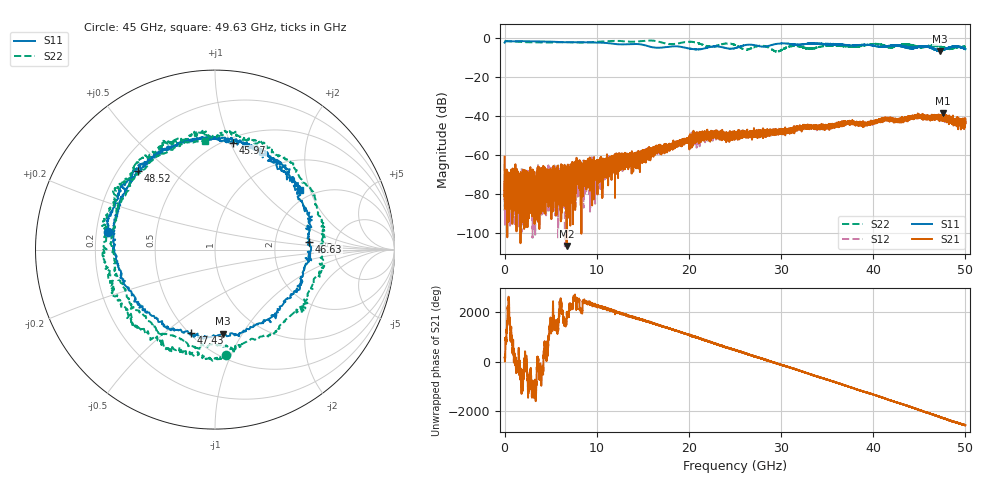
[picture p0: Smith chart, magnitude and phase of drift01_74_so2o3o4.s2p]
!Created with skrf (http://scikit-rf.org).
# Hz S RI R 50.0
!freq ReS11 ImS11 ReS21 ImS21 ReS12 ImS12 ReS22 ImS22
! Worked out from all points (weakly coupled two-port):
!   10001 points, 300 kHz to 50 GHz, reference 50 ohm
!   highest |S21| = -38.39 dB at 47.57 GHz (marker M1); lowest = -106.9 dB at 6.73 GHz (marker M2)
!   lowest |S11| = -6.5 dB at 47.27 GHz (marker M3), VSWR 2.78, Z = 34.4 - j41.4 ohm
!   |S11| at or under -10 dB: nowhere
!   |S22| runs from -6.8 to -1.0 dB; largest |S21 - S12| = 0.004
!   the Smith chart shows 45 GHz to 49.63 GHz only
!   S11 on the Smith chart (normalised r, x): 45 GHz: 0.25, +0.08; 45.97 GHz: 0.55, +1.02; 46.63 GHz: 3.16, +0.39; 47.43 GHz: 0.51, -0.62; 48.52 GHz: 0.28, +0.39; 49.63 GHz: 1.73, +1.72
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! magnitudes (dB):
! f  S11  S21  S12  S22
! 300 kHz  -2.1  -60.9  -64.5  -1.3
! 255.3 MHz  -1.4  -70.2  -73.0  -1.4
! 6.73 GHz  -1.9  -106.9  -72.1  -1.9
! 8.335 GHz  -1.9  -67.6  -70.7  -2.1
! 16.67 GHz  -4.8  -58.0  -58.1  -1.6
! 21.94 GHz  -4.8  -49.1  -50.6  -3.9
! 25 GHz  -5.0  -51.8  -48.9  -3.4
! 26.19 GHz  -3.4  -49.7  -47.9  -5.7
! 28.07 GHz  -4.2  -50.5  -49.1  -3.9
! 29.55 GHz  -2.8  -48.6  -48.1  -6.7
! 31.29 GHz  -3.0  -47.7  -47.1  -3.9
! 33.34 GHz  -2.6  -45.3  -45.3  -5.2
! 41.67 GHz  -3.8  -41.2  -41.3  -4.3
! 45 GHz  -4.4  -39.2  -39.9  -4.5
! 45.97 GHz  -4.4  -40.9  -40.5  -4.2
! 46.63 GHz  -5.6  -40.5  -40.5  -3.8
! 47.27 GHz  -6.5  -39.8  -40.8  -4.2
! 47.43 GHz  -6.3  -40.0  -39.9  -4.4
! 47.57 GHz  -5.8  -38.4  -41.0  -4.5
! 48.52 GHz  -4.3  -42.6  -42.6  -5.1
! 49.63 GHz  -4.7  -44.3  -43.8  -4.3
! 50 GHz  -5.5  -43.7  -42.4  -4.2
